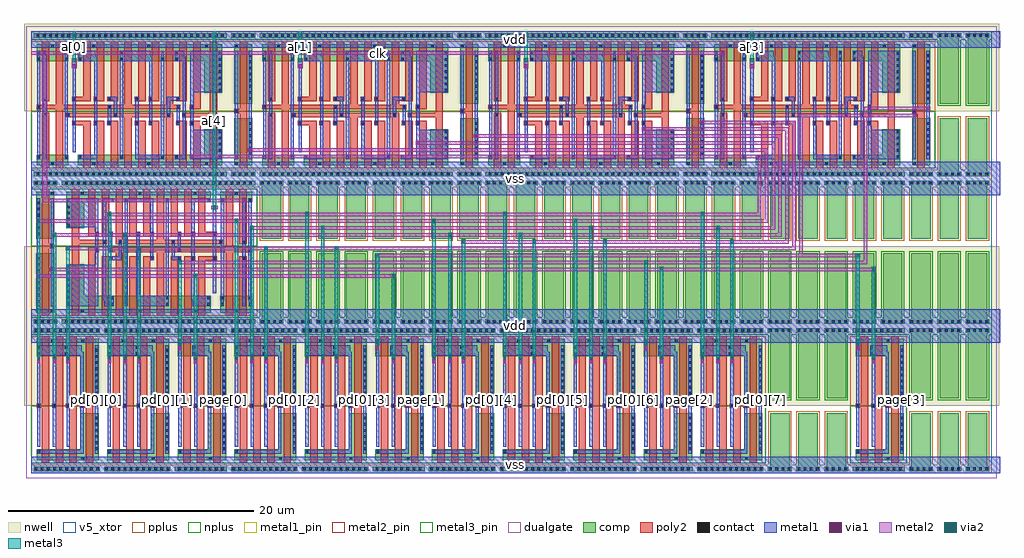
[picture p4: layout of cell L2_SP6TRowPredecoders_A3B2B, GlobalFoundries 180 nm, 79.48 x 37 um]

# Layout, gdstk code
from math import pi, radians
import gdstk
lib = gdstk.Library(unit=1e-6, precision=1e-09)
def R(c, l, rs):  # rectangles x0, y0, x1, y1
    for r in rs: c.add(gdstk.rectangle(r[:2], r[2:], *l))
def A(c, l, x, y, w, h, nx, ny, dx, dy):  # array of equal rectangles
    R(c, l, [(x+i*dx, y+j*dy, x+i*dx+w, y+j*dy+h) for i in range(nx) for j in range(ny)])
def P(c, l, *ps):  # polygons
    for p in ps: c.add(gdstk.Polygon(p, *l))
nwell = (21, 0)
comp = (22, 0)
poly2 = (30, 0)
pplus = (31, 0)
nplus = (32, 0)
contact = (33, 0)
metal1 = (34, 0)
metal1_pin = (34, 10)
via1 = (35, 0)
metal2 = (36, 0)
metal2_pin = (36, 10)
via2 = (38, 0)
metal3 = (42, 0)
metal3_pin = (42, 10)
dualgate = (55, 0)
v5_xtor = (112, 1)

l2_dec5v_and2_x1_5v0 = lib.new_cell('L2_Dec5V_and2_x1_5v0')
R(l2_dec5v_and2_x1_5v0, nwell, [(-0.6,5.5,5.2,12.6)])
R(l2_dec5v_and2_x1_5v0, comp, [(0.18,0.18,4.42,0.54), (0.18,11.46,4.42,11.82)])
P(l2_dec5v_and2_x1_5v0, comp, [(2.88,6.1),(2.88,9.535),(0.42,9.535),(0.42,10.935),(4.36,10.935),(4.36,6.1)],
  [(0.42,1.065),(0.42,1.945),(2.88,1.945),(2.88,4.9),(4.36,4.9),(4.36,1.065)])
P(l2_dec5v_and2_x1_5v0, poly2, [(1.98,0.845),(1.98,5.32),(1.7,5.32),(1.7,5.68),(1.98,5.68),(1.98,11.155),(2.58,11.155),(2.58,0.845)],
  [(0.86,0.845),(0.86,5.32),(0.42,5.32),(0.42,5.68),(0.86,5.68),(0.86,11.155),(1.46,11.155),(1.46,0.845)],
  [(3.32,0.845),(3.32,5.32),(2.82,5.32),(2.82,5.68),(3.32,5.68),(3.32,11.155),(3.92,11.155),(3.92,0.845)])
R(l2_dec5v_and2_x1_5v0, pplus, [(0,0,4.6,0.7), (0,5.5,4.6,11.165)])
R(l2_dec5v_and2_x1_5v0, nplus, [(0,0.835,4.6,5.5), (0,11.3,4.6,12)])
A(l2_dec5v_and2_x1_5v0, contact, 0.44, 0.25, 0.22, 0.22, 8, 2, 0.5, 11.28)
A(l2_dec5v_and2_x1_5v0, contact, 4.07, 1.88, 0.22, 0.22, 1, 6, 0, 0.5)
A(l2_dec5v_and2_x1_5v0, contact, 4.07, 6.4, 0.22, 0.22, 1, 8, 0, 0.5)
R(l2_dec5v_and2_x1_5v0, contact, [(2.95,1.135,3.17,1.355), (0.49,1.65,0.71,1.87), (0.49,5.39,0.71,5.61), (1.77,5.39,1.99,5.61), (2.89,5.39,3.11,5.61), (1.61,9.62,1.83,9.84), (1.61,10.12,1.83,10.34), (0.49,10.645,0.71,10.865), (2.95,10.645,3.17,10.865)])
R(l2_dec5v_and2_x1_5v0, metal1, [(0,0,4.6,1.36), (4.05,1.59,4.31,10.41), (0.47,2.16,0.73,10.41), (1.75,2.16,2.01,9.33), (0,10.64,4.6,12)])
P(l2_dec5v_and2_x1_5v0, metal1, [(0.485,1.59),(0.485,1.93),(2.87,1.93),(2.87,9.56),(1.605,9.56),(1.605,10.41),(3,10.41),(3,9.9),(3.13,9.9),(3.13,1.59)])
R(l2_dec5v_and2_x1_5v0, metal1_pin, [(0,0,4.6,1.36), (4.05,1.59,4.31,10.41), (0.47,2.16,0.73,10.41), (1.75,2.16,2.01,9.33), (0,10.64,4.6,12)])
R(l2_dec5v_and2_x1_5v0, dualgate, [(-0.4,-0.4,5,12.4)])
R(l2_dec5v_and2_x1_5v0, v5_xtor, [(-0.005,-0.005,4.605,12.005)])
l2_dec5v_and2_x1_5v0.add(gdstk.Label('q', (4.18,6), layer=34, texttype=10))
l2_dec5v_and2_x1_5v0.add(gdstk.Label('i1', (1.88,5.745), layer=34, texttype=10))
l2_dec5v_and2_x1_5v0.add(gdstk.Label('i0', (0.6,6.285), layer=34, texttype=10))
l2_dec5v_and2_x1_5v0.add(gdstk.Label('vss', (2.3,0.68), layer=34, texttype=10))
l2_dec5v_and2_x1_5v0.add(gdstk.Label('vdd', (2.3,11.32), layer=34, texttype=10))

l2_dec5v_and3_x1_5v0 = lib.new_cell('L2_Dec5V_and3_x1_5v0')
R(l2_dec5v_and3_x1_5v0, nwell, [(-0.6,5.5,6.35,12.6)])
R(l2_dec5v_and3_x1_5v0, comp, [(0.18,0.18,5.57,0.54), (0.18,11.46,5.57,11.82)])
P(l2_dec5v_and3_x1_5v0, comp, [(0.42,1.065),(0.42,1.945),(4,1.945),(4,4.9),(5.48,4.9),(5.48,1.065)],
  [(4,6.1),(4,9.535),(0.42,9.535),(0.42,10.935),(5.48,10.935),(5.48,6.1)])
P(l2_dec5v_and3_x1_5v0, poly2, [(1.98,0.845),(1.98,5.32),(1.7,5.32),(1.7,5.68),(1.98,5.68),(1.98,11.155),(2.58,11.155),(2.58,0.845)],
  [(3.1,0.845),(3.1,5.32),(2.82,5.32),(2.82,5.68),(3.1,5.68),(3.1,11.155),(3.7,11.155),(3.7,0.845)],
  [(0.86,0.845),(0.86,5.32),(0.42,5.32),(0.42,5.68),(0.86,5.68),(0.86,11.155),(1.46,11.155),(1.46,0.845)],
  [(4.44,0.845),(4.44,5.32),(3.94,5.32),(3.94,5.68),(4.44,5.68),(4.44,11.155),(5.04,11.155),(5.04,0.845)])
R(l2_dec5v_and3_x1_5v0, pplus, [(0,0,5.75,0.7), (0,5.5,5.75,11.165)])
R(l2_dec5v_and3_x1_5v0, nplus, [(0,0.835,5.75,5.5), (0,11.3,5.75,12)])
A(l2_dec5v_and3_x1_5v0, contact, 0.265, 0.25, 0.22, 0.22, 11, 2, 0.5, 11.28)
A(l2_dec5v_and3_x1_5v0, contact, 5.19, 1.88, 0.22, 0.22, 1, 6, 0, 0.5)
A(l2_dec5v_and3_x1_5v0, contact, 1.77, 5.39, 0.22, 0.22, 3, 1, 1.12, 0)
A(l2_dec5v_and3_x1_5v0, contact, 5.19, 6.4, 0.22, 0.22, 1, 8, 0, 0.5)
R(l2_dec5v_and3_x1_5v0, contact, [(4.07,1.135,4.29,1.355), (0.49,1.65,0.71,1.87), (0.49,5.39,0.71,5.61), (0.49,9.62,0.71,9.84), (2.73,9.62,2.95,9.84), (0.49,10.12,0.71,10.34), (2.73,10.12,2.95,10.34), (1.61,10.645,1.83,10.865), (4.07,10.645,4.29,10.865)])
R(l2_dec5v_and3_x1_5v0, metal1, [(0,0,5.75,1.36), (5.17,1.59,5.43,10.41), (0.47,2.16,0.73,9.33), (1.75,2.16,2.01,9.33), (2.87,2.16,3.13,9.33), (0,10.64,5.75,12)])
P(l2_dec5v_and3_x1_5v0, metal1, [(0.485,1.59),(0.485,1.93),(3.99,1.93),(3.99,9.56),(0.485,9.56),(0.485,10.41),(4.12,10.41),(4.12,9.9),(4.25,9.9),(4.25,1.59)])
R(l2_dec5v_and3_x1_5v0, metal1_pin, [(0,0,5.75,1.36), (5.17,1.59,5.43,10.41), (0.47,2.16,0.73,9.33), (1.75,2.16,2.01,9.33), (2.87,2.16,3.13,9.33), (0,10.64,5.75,12)])
R(l2_dec5v_and3_x1_5v0, dualgate, [(-0.4,-0.4,6.15,12.4)])
R(l2_dec5v_and3_x1_5v0, v5_xtor, [(-0.005,-0.005,5.755,12.005)])
l2_dec5v_and3_x1_5v0.add(gdstk.Label('q', (5.3,6), layer=34, texttype=10))
l2_dec5v_and3_x1_5v0.add(gdstk.Label('i2', (3,5.745), layer=34, texttype=10))
l2_dec5v_and3_x1_5v0.add(gdstk.Label('i1', (1.88,5.745), layer=34, texttype=10))
l2_dec5v_and3_x1_5v0.add(gdstk.Label('i0', (0.6,5.745), layer=34, texttype=10))
l2_dec5v_and3_x1_5v0.add(gdstk.Label('vss', (2.875,0.68), layer=34, texttype=10))
l2_dec5v_and3_x1_5v0.add(gdstk.Label('vdd', (2.875,11.32), layer=34, texttype=10))

l2_dec5v_tie_diff_w2_5v0 = lib.new_cell('L2_Dec5V_tie_diff_w2_5v0')
R(l2_dec5v_tie_diff_w2_5v0, nwell, [(-0.6,5.5,2.9,12.6)])
P(l2_dec5v_tie_diff_w2_5v0, comp, [(0.18,0.18),(0.18,0.54),(0.36,0.54),(0.36,4.9),(1.94,4.9),(1.94,0.54),(2.12,0.54),(2.12,0.18)],
  [(0.36,6.1),(0.36,11.46),(0.18,11.46),(0.18,11.82),(2.12,11.82),(2.12,11.46),(1.94,11.46),(1.94,6.1)])
P(l2_dec5v_tie_diff_w2_5v0, pplus, [(0,0),(0,0.7),(0.2,0.7),(0.2,5.06),(2.1,5.06),(2.1,0.7),(2.3,0.7),(2.3,0)])
P(l2_dec5v_tie_diff_w2_5v0, nplus, [(0.2,5.94),(0.2,11.3),(0,11.3),(0,12),(2.3,12),(2.3,11.3),(2.1,11.3),(2.1,5.94)])
A(l2_dec5v_tie_diff_w2_5v0, contact, 0.29, 0.25, 0.22, 0.22, 4, 2, 0.5, 11.28)
R(l2_dec5v_tie_diff_w2_5v0, metal1, [(0,0,2.3,1.36), (0,10.64,2.3,12)])
R(l2_dec5v_tie_diff_w2_5v0, metal1_pin, [(0,0,2.3,1.36), (0,10.64,2.3,12)])
R(l2_dec5v_tie_diff_w2_5v0, dualgate, [(-0.4,-0.4,2.7,12.4)])
R(l2_dec5v_tie_diff_w2_5v0, v5_xtor, [(-0.005,-0.005,2.305,12.005)])
l2_dec5v_tie_diff_w2_5v0.add(gdstk.Label('vss', (1.15,0.68), layer=34, texttype=10))
l2_dec5v_tie_diff_w2_5v0.add(gdstk.Label('vdd', (1.15,11.32), layer=34, texttype=10))

l2_dec5v_dff_x1_5v0 = lib.new_cell('L2_Dec5V_dff_x1_5v0')
R(l2_dec5v_dff_x1_5v0, nwell, [(-0.6,5.5,16.7,12.6)])
R(l2_dec5v_dff_x1_5v0, comp, [(0.18,0.18,15.92,0.54), (0.42,1.065,3.02,1.945), (0.42,9.535,3.02,10.935), (0.18,11.46,15.92,11.82)])
P(l2_dec5v_dff_x1_5v0, comp, [(3.78,1.065),(3.78,1.945),(14.08,1.945),(14.08,4.03),(15.56,4.03),(15.56,1.065)],
  [(14.08,6.97),(14.08,9.535),(3.78,9.535),(3.78,10.935),(15.56,10.935),(15.56,6.97)])
R(l2_dec5v_dff_x1_5v0, poly2, [(0.86,0.845,1.46,5.35), (0.86,6.31,1.46,11.155)])
P(l2_dec5v_dff_x1_5v0, poly2, [(12.9,5.65),(12.9,6.01),(13.18,6.01),(13.18,11.155),(13.78,11.155),(13.78,5.65)],
  [(14.52,0.845),(14.52,4.99),(12.27,4.99),(12.27,5.35),(14.52,5.35),(14.52,11.155),(15.12,11.155),(15.12,0.845)],
  [(4.22,0.845),(4.22,4.33),(3.31,4.33),(3.31,4.69),(4.82,4.69),(4.82,0.845)],
  [(7.58,0.845),(7.58,4.99),(2.82,4.99),(2.82,5.35),(11.54,5.35),(11.54,0.845),(10.94,0.845),(10.94,4.99),(8.18,4.99),(8.18,0.845)],
  [(5.06,6.31),(5.06,6.67),(5.34,6.67),(5.34,11.155),(5.94,11.155),(5.94,6.31)],
  [(6.18,6.31),(6.18,6.67),(6.46,6.67),(6.46,11.155),(7.06,11.155),(7.06,6.31)],
  [(8.42,6.31),(8.42,6.67),(8.7,6.67),(8.7,11.155),(9.3,11.155),(9.3,6.31)],
  [(9.54,6.31),(9.54,6.67),(9.82,6.67),(9.82,11.155),(10.42,11.155),(10.42,6.31)],
  [(11.78,6.31),(11.78,6.67),(12.06,6.67),(12.06,11.155),(12.66,11.155),(12.66,6.31)],
  [(5.34,0.845),(5.34,4.33),(5.06,4.33),(5.06,4.69),(5.94,4.69),(5.94,0.845)],
  [(6.46,0.845),(6.46,4.33),(6.18,4.33),(6.18,4.69),(7.06,4.69),(7.06,0.845)],
  [(8.7,0.845),(8.7,4.33),(8.42,4.33),(8.42,4.69),(9.3,4.69),(9.3,0.845)],
  [(9.82,0.845),(9.82,4.33),(9.54,4.33),(9.54,4.69),(10.42,4.69),(10.42,0.845)],
  [(12.06,0.845),(12.06,4.33),(11.78,4.33),(11.78,4.69),(12.66,4.69),(12.66,0.845)],
  [(13.18,0.845),(13.18,4.33),(12.9,4.33),(12.9,4.69),(13.78,4.69),(13.78,0.845)],
  [(3.31,6.31),(3.31,6.67),(4.22,6.67),(4.22,11.155),(4.82,11.155),(4.82,6.31)],
  [(1.98,0.845),(1.98,5.65),(0.42,5.65),(0.42,6.01),(1.98,6.01),(1.98,11.155),(2.58,11.155),(2.58,6.01),(7.58,6.01),(7.58,11.155),(8.18,11.155),(8.18,6.01),(10.94,6.01),(10.94,11.155),(11.54,11.155),(11.54,6.01),(12.14,6.01),(12.14,5.65),(2.58,5.65),(2.58,0.845)])
R(l2_dec5v_dff_x1_5v0, pplus, [(0,0,16.1,0.7), (0,5.5,16.1,11.165)])
R(l2_dec5v_dff_x1_5v0, nplus, [(0,0.835,16.1,5.5), (0,11.3,16.1,12)])
A(l2_dec5v_dff_x1_5v0, contact, 0.44, 0.25, 0.22, 0.22, 31, 2, 0.5, 11.28)
A(l2_dec5v_dff_x1_5v0, contact, 3.85, 1.65, 0.22, 0.22, 3, 2, 3.36, 7.97)
A(l2_dec5v_dff_x1_5v0, contact, 15.27, 1.695, 0.22, 0.22, 1, 5, 0, 0.5)
A(l2_dec5v_dff_x1_5v0, contact, 15.27, 7.085, 0.22, 0.22, 1, 7, 0, 0.5)
A(l2_dec5v_dff_x1_5v0, contact, 3.85, 10.12, 0.22, 0.22, 3, 1, 3.36, 0)
R(l2_dec5v_dff_x1_5v0, contact, [(1.61,1.135,1.83,1.355), (4.97,1.135,5.19,1.355), (9.45,1.135,9.67,1.355), (14.15,1.135,14.37,1.355), (0.49,1.65,0.71,1.87), (2.73,1.65,2.95,1.87), (11.69,1.65,11.91,1.87), (3.38,4.4,3.6,4.62), (5.13,4.4,5.35,4.62), (6.25,4.4,6.47,4.62), (8.49,4.4,8.71,4.62), (9.61,4.4,9.83,4.62), (11.85,4.4,12.07,4.62), (12.97,4.4,13.19,4.62), (0.98,5.06,1.2,5.28), (2.89,5.06,3.11,5.28), (6.74,5.06,6.96,5.28), (11.06,5.06,11.28,5.28), (12.34,5.06,12.56,5.28), (0.49,5.72,0.71,5.94), (6.25,5.72,6.47,5.94), (11.85,5.72,12.07,5.94), (12.97,5.72,13.19,5.94), (0.98,6.38,1.2,6.6), (3.38,6.38,3.6,6.6), (5.13,6.38,5.35,6.6), (6.25,6.38,6.47,6.6), (8.49,6.38,8.71,6.6), (9.61,6.38,9.83,6.6), (11.85,6.38,12.07,6.6), (0.49,9.62,0.71,9.84), (2.73,9.62,2.95,9.84), (11.69,9.62,11.91,9.84), (0.49,10.12,0.71,10.34), (2.73,10.12,2.95,10.34), (11.69,10.12,11.91,10.34), (1.61,10.645,1.83,10.865), (4.97,10.645,5.19,10.865), (9.45,10.645,9.67,10.865), (14.15,10.645,14.37,10.865)])
R(l2_dec5v_dff_x1_5v0, metal1, [(0,0,16.1,1.36), (0.96,1.59,1.22,10.41), (3.36,2.16,3.62,9.33), (6.23,4.34,6.49,6), (11.83,4.34,12.09,6), (0,10.64,16.1,12)])
P(l2_dec5v_dff_x1_5v0, metal1, [(11.685,1.59),(11.685,1.93),(12.32,1.93),(12.32,9.56),(11.685,9.56),(11.685,10.41),(12.45,10.41),(12.45,9.9),(12.58,9.9),(12.58,1.59)],
  [(8.47,1.59),(8.47,6.66),(8.73,6.66),(8.73,1.93),(10.55,1.93),(10.55,9.9),(10.565,9.9),(10.565,10.41),(10.795,10.41),(10.795,9.9),(10.81,9.9),(10.81,1.59)],
  [(3.845,1.59),(3.845,1.93),(5.11,1.93),(5.11,9.56),(3.845,9.56),(3.845,10.41),(5.24,10.41),(5.24,9.9),(5.37,9.9),(5.37,1.59)],
  [(2.71,1.59),(2.71,9.9),(2.725,9.9),(2.725,10.41),(2.955,10.41),(2.955,9.9),(2.97,9.9),(2.97,5.34),(3.115,5.34),(3.115,5),(2.97,5),(2.97,1.59)],
  [(12.95,1.59),(12.95,10.41),(15.495,10.41),(15.495,7.025),(13.21,7.025),(13.21,3.975),(15.495,3.975),(15.495,1.59)],
  [(11.04,5),(11.04,6.66),(12.075,6.66),(12.075,6.32),(11.3,6.32),(11.3,5)],
  [(6.72,5),(6.72,6.32),(6.245,6.32),(6.245,6.66),(6.98,6.66),(6.98,5)],
  [(7.205,1.59),(7.205,1.93),(7.21,1.93),(7.21,9.56),(7.205,9.56),(7.205,10.41),(9.72,10.41),(9.72,9.9),(9.85,9.9),(9.85,4.34),(9.59,4.34),(9.59,9.56),(7.47,9.56),(7.47,1.59)],
  [(0.47,1.59),(0.47,9.9),(0.485,9.9),(0.485,10.41),(0.715,10.41),(0.715,9.9),(0.73,9.9),(0.73,1.59)])
R(l2_dec5v_dff_x1_5v0, metal1_pin, [(0,0,16.1,1.36), (0.96,1.59,1.22,10.41), (12.95,1.59,13.21,10.41), (3.36,2.16,3.62,9.33), (0,10.64,16.1,12)])
R(l2_dec5v_dff_x1_5v0, dualgate, [(-0.4,-0.4,16.5,12.4)])
R(l2_dec5v_dff_x1_5v0, v5_xtor, [(-0.005,-0.005,16.105,12.005)])
l2_dec5v_dff_x1_5v0.add(gdstk.Label('q', (13.08,6), layer=34, texttype=10))
l2_dec5v_dff_x1_5v0.add(gdstk.Label('i', (3.49,5.745), layer=34, texttype=10))
l2_dec5v_dff_x1_5v0.add(gdstk.Label('clk', (1.09,6), layer=34, texttype=10))
l2_dec5v_dff_x1_5v0.add(gdstk.Label('vss', (8.05,0.68), layer=34, texttype=10))
l2_dec5v_dff_x1_5v0.add(gdstk.Label('vdd', (8.05,11.32), layer=34, texttype=10))

l2_dec5v_inv_x1_5v0 = lib.new_cell('L2_Dec5V_inv_x1_5v0')
R(l2_dec5v_inv_x1_5v0, nwell, [(-0.6,5.5,2.9,12.6)])
R(l2_dec5v_inv_x1_5v0, comp, [(0.18,0.18,2.12,0.54), (0.42,1.065,1.9,4.9), (0.42,6.1,1.9,10.935), (0.18,11.46,2.12,11.82)])
P(l2_dec5v_inv_x1_5v0, poly2, [(0.86,0.845),(0.86,5.32),(0.42,5.32),(0.42,5.68),(0.86,5.68),(0.86,11.155),(1.46,11.155),(1.46,0.845)])
R(l2_dec5v_inv_x1_5v0, pplus, [(0,0,2.3,0.7), (0,5.5,2.3,11.165)])
R(l2_dec5v_inv_x1_5v0, nplus, [(0,0.835,2.3,5.5), (0,11.3,2.3,12)])
A(l2_dec5v_inv_x1_5v0, contact, 0.29, 0.25, 0.22, 0.22, 4, 2, 0.5, 11.28)
A(l2_dec5v_inv_x1_5v0, contact, 1.61, 1.88, 0.22, 0.22, 1, 6, 0, 0.5)
A(l2_dec5v_inv_x1_5v0, contact, 1.61, 6.4, 0.22, 0.22, 1, 8, 0, 0.5)
R(l2_dec5v_inv_x1_5v0, contact, [(0.49,1.135,0.71,1.355), (0.49,5.39,0.71,5.61), (0.49,10.645,0.71,10.865)])
R(l2_dec5v_inv_x1_5v0, metal1, [(0,0,2.3,1.36), (0.47,1.59,0.73,10.41), (1.59,1.59,1.85,10.41), (0,10.64,2.3,12)])
R(l2_dec5v_inv_x1_5v0, metal1_pin, [(0,0,2.3,1.36), (0.47,1.59,0.73,10.41), (1.59,1.59,1.85,10.41), (0,10.64,2.3,12)])
R(l2_dec5v_inv_x1_5v0, dualgate, [(-0.4,-0.4,2.7,12.4)])
R(l2_dec5v_inv_x1_5v0, v5_xtor, [(-0.005,-0.005,2.305,12.005)])
l2_dec5v_inv_x1_5v0.add(gdstk.Label('i', (0.6,6), layer=34, texttype=10))
l2_dec5v_inv_x1_5v0.add(gdstk.Label('nq', (1.72,6), layer=34, texttype=10))
l2_dec5v_inv_x1_5v0.add(gdstk.Label('vdd', (1.15,11.32), layer=34, texttype=10))
l2_dec5v_inv_x1_5v0.add(gdstk.Label('vss', (1.15,0.68), layer=34, texttype=10))

l2_sp6trowpredecoders_a3 = lib.new_cell('L2_SP6TRowPredecoders_A3B2B')
A(l2_sp6trowpredecoders_a3, metal1, 37.37, 1.59, 0.26, 8.82, 3, 1, 5.75, 0)
A(l2_sp6trowpredecoders_a3, metal1, 3.36, 32.95, 0.26, 0.38, 4, 1, 18.4, 0)
A(l2_sp6trowpredecoders_a3, metal1, 0.96, 34.03, 0.26, 0.38, 4, 1, 18.4, 0)
R(l2_sp6trowpredecoders_a3, metal1, [(0,0,78.88,1.36), (5.17,1.59,5.43,10.41), (10.92,1.59,11.18,10.41), (15.55,1.59,15.81,10.41), (21.27,1.59,21.53,10.41), (27.02,1.59,27.28,10.41), (31.65,1.59,31.91,10.41), (53.5,1.59,53.76,10.41), (59.22,1.59,59.48,10.41), (70.75,1.59,71.01,10.41), (0.47,8.95,0.73,9.33), (1.75,8.95,2.01,9.33), (2.87,8.95,3.13,9.33), (6.22,8.95,6.48,9.33), (7.5,8.95,7.76,9.33), (8.62,8.95,8.88,9.33), (13.25,8.95,13.51,9.33), (16.57,8.95,16.83,9.33), (17.85,8.95,18.11,9.33), (18.97,8.95,19.23,9.33), (22.32,8.95,22.58,9.33), (23.6,8.95,23.86,9.33), (24.72,8.95,24.98,9.33), (29.35,8.95,29.61,9.33), (32.67,8.95,32.93,9.33), (33.95,8.95,34.21,9.33), (35.07,8.95,35.33,9.33), (38.42,8.95,38.68,9.33), (39.7,8.95,39.96,9.33), (40.82,8.95,41.08,9.33), (44.17,8.95,44.43,9.33), (45.45,8.95,45.71,9.33), (46.57,8.95,46.83,9.33), (51.2,8.95,51.46,9.33), (54.52,8.95,54.78,9.33), (55.8,8.95,56.06,9.33), (56.92,8.95,57.18,9.33), (68.45,8.95,68.71,9.33), (11.97,10.03,12.23,10.41), (28.07,10.03,28.33,10.41), (49.92,10.03,50.18,10.41), (67.17,10.03,67.43,10.41), (0,10.64,78.88,13.36), (0.45,15.86,0.71,16.24), (1.57,16.42,1.83,16.8), (5.19,16.42,5.45,16.8), (14.78,21.46,15.04,21.84), (17.18,22.03,17.44,22.41), (0,22.64,78.88,25.36), (12.95,25.59,13.21,25.97), (16.57,25.59,16.83,25.97), (17.69,26.15,17.95,26.53), (31.35,26.71,31.61,27.09), (34.97,26.71,35.23,27.09), (36.09,27.27,36.35,27.65), (49.75,27.83,50.01,28.21), (53.37,27.83,53.63,28.21), (54.49,28.39,54.75,28.77), (68.15,28.95,68.41,29.33), (71.77,28.95,72.03,29.33), (72.89,29.51,73.15,29.89), (0,34.64,78.88,36)])
A(l2_sp6trowpredecoders_a3, metal1_pin, 37.37, 1.59, 0.26, 8.82, 3, 1, 5.75, 0)
R(l2_sp6trowpredecoders_a3, metal1_pin, [(0,0,78.88,1.36), (5.17,1.59,5.43,10.41), (10.92,1.59,11.18,10.41), (15.55,1.59,15.81,10.41), (21.27,1.59,21.53,10.41), (27.02,1.59,27.28,10.41), (31.65,1.59,31.91,10.41), (53.5,1.59,53.76,10.41), (59.22,1.59,59.48,10.41), (70.75,1.59,71.01,10.41), (0,10.64,78.88,13.36), (0,22.64,78.88,25.36), (0,34.64,78.88,36)])
A(l2_sp6trowpredecoders_a3, via1, 3.36, 33.01, 0.26, 0.26, 4, 1, 18.4, 0)
A(l2_sp6trowpredecoders_a3, via1, 0.96, 34.09, 0.26, 0.26, 4, 1, 18.4, 0)
R(l2_sp6trowpredecoders_a3, via1, [(0.47,9.01,0.73,9.27), (1.75,9.01,2.01,9.27), (2.87,9.01,3.13,9.27), (6.22,9.01,6.48,9.27), (7.5,9.01,7.76,9.27), (8.62,9.01,8.88,9.27), (13.25,9.01,13.51,9.27), (16.57,9.01,16.83,9.27), (17.85,9.01,18.11,9.27), (18.97,9.01,19.23,9.27), (22.32,9.01,22.58,9.27), (23.6,9.01,23.86,9.27), (24.72,9.01,24.98,9.27), (29.35,9.01,29.61,9.27), (32.67,9.01,32.93,9.27), (33.95,9.01,34.21,9.27), (35.07,9.01,35.33,9.27), (38.42,9.01,38.68,9.27), (39.7,9.01,39.96,9.27), (40.82,9.01,41.08,9.27), (44.17,9.01,44.43,9.27), (45.45,9.01,45.71,9.27), (46.57,9.01,46.83,9.27), (51.2,9.01,51.46,9.27), (54.52,9.01,54.78,9.27), (55.8,9.01,56.06,9.27), (56.92,9.01,57.18,9.27), (68.45,9.01,68.71,9.27), (11.97,10.09,12.23,10.35), (28.07,10.09,28.33,10.35), (49.92,10.09,50.18,10.35), (67.17,10.09,67.43,10.35), (0.45,15.92,0.71,16.18), (1.57,16.48,1.83,16.74), (5.19,16.48,5.45,16.74), (14.78,21.52,15.04,21.78), (17.18,22.09,17.44,22.35), (12.95,25.65,13.21,25.91), (16.57,25.65,16.83,25.91), (17.69,26.21,17.95,26.47), (31.35,26.77,31.61,27.03), (34.97,26.77,35.23,27.03), (36.09,27.33,36.35,27.59), (49.75,27.89,50.01,28.15), (53.37,27.89,53.63,28.15), (54.49,28.45,54.75,28.71), (68.15,29.01,68.41,29.27), (71.77,29.01,72.03,29.27), (72.89,29.57,73.15,29.83)])
A(l2_sp6trowpredecoders_a3, metal2, 3.3, 33, 0.38, 0.8, 4, 1, 18.4, 0)
R(l2_sp6trowpredecoders_a3, metal2, [(0.46,8.95,0.74,9.71), (1.74,8.95,2.02,9.71), (2.86,8.95,3.14,9.71), (6.21,8.95,6.49,9.71), (7.49,8.95,7.77,9.71), (8.61,8.95,8.89,9.71), (13.24,8.95,13.52,9.71), (16.56,8.95,16.84,9.71), (17.84,8.95,18.12,9.71), (18.96,8.95,19.24,9.71), (22.31,8.95,22.59,9.71), (23.59,8.95,23.87,9.71), (24.71,8.95,24.99,9.71), (29.34,8.95,29.62,9.71), (32.66,8.95,32.94,9.71), (33.94,8.95,34.22,9.71), (35.06,8.95,35.34,9.71), (38.41,8.95,38.69,9.71), (39.69,8.95,39.97,9.71), (40.81,8.95,41.09,9.71), (44.16,8.95,44.44,9.71), (45.44,8.95,45.72,9.71), (46.56,8.95,46.84,9.71), (51.19,8.95,51.47,9.71), (54.51,8.95,54.79,9.71), (55.79,8.95,56.07,9.71), (56.91,8.95,57.19,9.71), (68.44,8.95,68.72,9.71), (11.96,10.03,12.24,10.79), (28.06,10.03,28.34,10.79), (49.91,10.03,50.19,10.79), (67.16,10.03,67.44,10.79), (0.39,15.91,29.67,16.19), (1.51,16.47,68.77,16.75), (14.66,21.51,15.16,21.8)])
P(l2_sp6trowpredecoders_a3, metal2, [(11.91,17.03),(11.91,17.31),(67.77,17.31),(67.77,29.84),(73.21,29.84),(73.21,29.56),(68.05,29.56),(68.05,17.03)],
  [(28.01,17.59),(28.01,17.87),(62.52,17.87),(62.52,29.28),(72.09,29.28),(72.09,29),(62.8,29),(62.8,17.87),(67.49,17.87),(67.49,17.59)],
  [(35.01,18.71),(35.01,18.99),(61.4,18.99),(61.4,27.88),(49.69,27.88),(49.69,28.16),(61.68,28.16),(61.68,18.71)],
  [(2.81,18.15),(2.81,18.43),(61.96,18.43),(61.96,28.44),(54.43,28.44),(54.43,28.72),(62.24,28.72),(62.24,18.15)],
  [(1.69,19.27),(1.69,19.55),(60.84,19.55),(60.84,27.32),(36.03,27.32),(36.03,27.6),(61.12,27.6),(61.12,19.27)],
  [(17.79,19.83),(17.79,20.11),(60.28,20.11),(60.28,26.76),(31.29,26.76),(31.29,27.04),(60.56,27.04),(60.56,19.83)],
  [(6.16,20.95),(6.16,21.23),(59.16,21.23),(59.16,25.64),(12.89,25.64),(12.89,25.92),(59.44,25.92),(59.44,20.95)],
  [(0.41,20.39),(0.41,20.67),(59.72,20.67),(59.72,26.2),(17.63,26.2),(17.63,26.48),(60,26.48),(60,20.39)],
  [(0.9,22.08),(0.9,34.08),(0,34.08),(0,34.36),(56.48,34.36),(56.48,34.08),(1.28,34.08),(1.28,22.36),(17.5,22.36),(17.5,22.08)])
R(l2_sp6trowpredecoders_a3, metal2_pin, [(0,34.08,56.48,34.36)])
A(l2_sp6trowpredecoders_a3, via2, 35.07, 18.72, 0.26, 0.26, 3, 1, 5.75, 0)
A(l2_sp6trowpredecoders_a3, via2, 0.47, 20.4, 0.26, 0.26, 3, 1, 16.1, 0)
A(l2_sp6trowpredecoders_a3, via2, 6.22, 20.96, 0.26, 0.26, 4, 1, 16.1, 0)
A(l2_sp6trowpredecoders_a3, via2, 3.36, 33.53, 0.26, 0.26, 4, 1, 18.4, 0)
R(l2_sp6trowpredecoders_a3, via2, [(0.47,9.39,0.73,9.65), (1.75,9.39,2.01,9.65), (2.87,9.39,3.13,9.65), (6.22,9.39,6.48,9.65), (7.5,9.39,7.76,9.65), (8.62,9.39,8.88,9.65), (13.25,9.39,13.51,9.65), (16.57,9.39,16.83,9.65), (17.85,9.39,18.11,9.65), (18.97,9.39,19.23,9.65), (22.32,9.39,22.58,9.65), (23.6,9.39,23.86,9.65), (24.72,9.39,24.98,9.65), (29.35,9.39,29.61,9.65), (32.67,9.39,32.93,9.65), (33.95,9.39,34.21,9.65), (35.07,9.39,35.33,9.65), (38.42,9.39,38.68,9.65), (39.7,9.39,39.96,9.65), (40.82,9.39,41.08,9.65), (44.17,9.39,44.43,9.65), (45.45,9.39,45.71,9.65), (46.57,9.39,46.83,9.65), (51.2,9.39,51.46,9.65), (54.52,9.39,54.78,9.65), (55.8,9.39,56.06,9.65), (56.92,9.39,57.18,9.65), (68.45,9.39,68.71,9.65), (11.97,10.47,12.23,10.73), (28.07,10.47,28.33,10.73), (49.92,10.47,50.18,10.73), (67.17,10.47,67.43,10.73), (13.25,15.92,13.51,16.18), (29.35,15.92,29.61,16.18), (51.2,16.48,51.46,16.74), (68.45,16.48,68.71,16.74), (11.97,17.04,12.23,17.3), (49.92,17.04,50.18,17.3), (28.07,17.6,28.33,17.86), (67.17,17.6,67.43,17.86), (2.87,18.16,3.13,18.42), (8.62,18.16,8.88,18.42), (18.97,18.16,19.23,18.42), (24.72,18.16,24.98,18.42), (56.92,18.72,57.18,18.98), (1.75,19.28,2.01,19.54), (7.5,19.28,7.76,19.54), (33.95,19.28,34.21,19.54), (39.7,19.28,39.96,19.54), (17.85,19.84,18.11,20.1), (23.6,19.84,23.86,20.1), (45.45,19.84,45.71,20.1), (55.8,19.84,56.06,20.1), (44.17,20.4,44.43,20.66), (14.78,21.53,15.04,21.79)])
A(l2_sp6trowpredecoders_a3, metal3, 0.46, 9.33, 0.28, 11.39, 3, 1, 16.1, 0)
A(l2_sp6trowpredecoders_a3, metal3, 6.21, 9.33, 0.28, 11.95, 4, 1, 16.1, 0)
A(l2_sp6trowpredecoders_a3, metal3, 35.06, 9.33, 0.28, 9.71, 3, 1, 5.75, 0)
A(l2_sp6trowpredecoders_a3, metal3, 3.35, 33.47, 0.28, 2.53, 4, 1, 18.4, 0)
R(l2_sp6trowpredecoders_a3, metal3, [(1.74,9.33,2.02,19.6), (2.86,9.33,3.14,18.48), (7.49,9.33,7.77,19.6), (8.61,9.33,8.89,18.48), (13.24,9.33,13.52,16.24), (17.84,9.33,18.12,20.16), (18.96,9.33,19.24,18.48), (23.59,9.33,23.87,20.16), (24.71,9.33,24.99,18.48), (29.34,9.33,29.62,16.24), (33.94,9.33,34.22,19.6), (39.69,9.33,39.97,19.6), (44.16,9.33,44.44,20.72), (45.44,9.33,45.72,20.16), (51.19,9.33,51.47,16.8), (55.79,9.33,56.07,20.16), (56.91,9.33,57.19,19.04), (68.44,9.33,68.72,16.8), (11.96,10.41,12.24,17.36), (28.06,10.41,28.34,17.92), (49.91,10.41,50.19,17.36), (67.16,10.41,67.44,17.92), (14.77,21.47,15.05,36)])
A(l2_sp6trowpredecoders_a3, metal3_pin, 3.35, 33.47, 0.28, 2.53, 4, 1, 18.4, 0)
R(l2_sp6trowpredecoders_a3, metal3_pin, [(14.77,21.47,15.05,36)])
l2_sp6trowpredecoders_a3.add(gdstk.Reference(l2_dec5v_and2_x1_5v0, (11.5,0)))
l2_sp6trowpredecoders_a3.add(gdstk.Reference(l2_dec5v_and2_x1_5v0, (27.6,0)))
l2_sp6trowpredecoders_a3.add(gdstk.Reference(l2_dec5v_and2_x1_5v0, (49.45,0)))
l2_sp6trowpredecoders_a3.add(gdstk.Reference(l2_dec5v_and2_x1_5v0, (66.7,0)))
l2_sp6trowpredecoders_a3.add(gdstk.Reference(l2_dec5v_and3_x1_5v0, (0,0)))
l2_sp6trowpredecoders_a3.add(gdstk.Reference(l2_dec5v_and3_x1_5v0, (5.75,0)))
l2_sp6trowpredecoders_a3.add(gdstk.Reference(l2_dec5v_and3_x1_5v0, (16.1,0)))
l2_sp6trowpredecoders_a3.add(gdstk.Reference(l2_dec5v_and3_x1_5v0, (21.85,0)))
l2_sp6trowpredecoders_a3.add(gdstk.Reference(l2_dec5v_and3_x1_5v0, (32.2,0)))
l2_sp6trowpredecoders_a3.add(gdstk.Reference(l2_dec5v_and3_x1_5v0, (37.95,0)))
l2_sp6trowpredecoders_a3.add(gdstk.Reference(l2_dec5v_and3_x1_5v0, (43.7,0)))
l2_sp6trowpredecoders_a3.add(gdstk.Reference(l2_dec5v_and3_x1_5v0, (54.05,0)))
l2_sp6trowpredecoders_a3.add(gdstk.Reference(l2_dec5v_tie_diff_w2_5v0, (59.8,0)))
l2_sp6trowpredecoders_a3.add(gdstk.Reference(l2_dec5v_tie_diff_w2_5v0, (62.1,0)))
l2_sp6trowpredecoders_a3.add(gdstk.Reference(l2_dec5v_tie_diff_w2_5v0, (64.4,0)))
l2_sp6trowpredecoders_a3.add(gdstk.Reference(l2_dec5v_tie_diff_w2_5v0, (71.3,0)))
l2_sp6trowpredecoders_a3.add(gdstk.Reference(l2_dec5v_tie_diff_w2_5v0, (73.6,0)))
l2_sp6trowpredecoders_a3.add(gdstk.Reference(l2_dec5v_tie_diff_w2_5v0, (75.9,0)))
l2_sp6trowpredecoders_a3.add(gdstk.Reference(l2_dec5v_tie_diff_w2_5v0, (73.6,24)))
l2_sp6trowpredecoders_a3.add(gdstk.Reference(l2_dec5v_tie_diff_w2_5v0, (75.9,24)))
l2_sp6trowpredecoders_a3.add(gdstk.Reference(l2_dec5v_tie_diff_w2_5v0, (18.4,24), x_reflection=True))
l2_sp6trowpredecoders_a3.add(gdstk.Reference(l2_dec5v_tie_diff_w2_5v0, (20.7,24), x_reflection=True))
l2_sp6trowpredecoders_a3.add(gdstk.Reference(l2_dec5v_tie_diff_w2_5v0, (23,24), x_reflection=True))
l2_sp6trowpredecoders_a3.add(gdstk.Reference(l2_dec5v_tie_diff_w2_5v0, (25.3,24), x_reflection=True))
l2_sp6trowpredecoders_a3.add(gdstk.Reference(l2_dec5v_tie_diff_w2_5v0, (27.6,24), x_reflection=True))
l2_sp6trowpredecoders_a3.add(gdstk.Reference(l2_dec5v_tie_diff_w2_5v0, (29.9,24), x_reflection=True))
l2_sp6trowpredecoders_a3.add(gdstk.Reference(l2_dec5v_tie_diff_w2_5v0, (32.2,24), x_reflection=True))
l2_sp6trowpredecoders_a3.add(gdstk.Reference(l2_dec5v_tie_diff_w2_5v0, (34.5,24), x_reflection=True))
l2_sp6trowpredecoders_a3.add(gdstk.Reference(l2_dec5v_tie_diff_w2_5v0, (36.8,24), x_reflection=True))
l2_sp6trowpredecoders_a3.add(gdstk.Reference(l2_dec5v_tie_diff_w2_5v0, (39.1,24), x_reflection=True))
l2_sp6trowpredecoders_a3.add(gdstk.Reference(l2_dec5v_tie_diff_w2_5v0, (41.4,24), x_reflection=True))
l2_sp6trowpredecoders_a3.add(gdstk.Reference(l2_dec5v_tie_diff_w2_5v0, (43.7,24), x_reflection=True))
l2_sp6trowpredecoders_a3.add(gdstk.Reference(l2_dec5v_tie_diff_w2_5v0, (46,24), x_reflection=True))
l2_sp6trowpredecoders_a3.add(gdstk.Reference(l2_dec5v_tie_diff_w2_5v0, (48.3,24), x_reflection=True))
l2_sp6trowpredecoders_a3.add(gdstk.Reference(l2_dec5v_tie_diff_w2_5v0, (50.6,24), x_reflection=True))
l2_sp6trowpredecoders_a3.add(gdstk.Reference(l2_dec5v_tie_diff_w2_5v0, (52.9,24), x_reflection=True))
l2_sp6trowpredecoders_a3.add(gdstk.Reference(l2_dec5v_tie_diff_w2_5v0, (55.2,24), x_reflection=True))
l2_sp6trowpredecoders_a3.add(gdstk.Reference(l2_dec5v_tie_diff_w2_5v0, (57.5,24), x_reflection=True))
l2_sp6trowpredecoders_a3.add(gdstk.Reference(l2_dec5v_tie_diff_w2_5v0, (59.8,24), x_reflection=True))
l2_sp6trowpredecoders_a3.add(gdstk.Reference(l2_dec5v_tie_diff_w2_5v0, (62.1,24), x_reflection=True))
l2_sp6trowpredecoders_a3.add(gdstk.Reference(l2_dec5v_tie_diff_w2_5v0, (64.4,24), x_reflection=True))
l2_sp6trowpredecoders_a3.add(gdstk.Reference(l2_dec5v_tie_diff_w2_5v0, (66.7,24), x_reflection=True))
l2_sp6trowpredecoders_a3.add(gdstk.Reference(l2_dec5v_tie_diff_w2_5v0, (69,24), x_reflection=True))
l2_sp6trowpredecoders_a3.add(gdstk.Reference(l2_dec5v_tie_diff_w2_5v0, (71.3,24), x_reflection=True))
l2_sp6trowpredecoders_a3.add(gdstk.Reference(l2_dec5v_tie_diff_w2_5v0, (73.6,24), x_reflection=True))
l2_sp6trowpredecoders_a3.add(gdstk.Reference(l2_dec5v_tie_diff_w2_5v0, (75.9,24), x_reflection=True))
l2_sp6trowpredecoders_a3.add(gdstk.Reference(l2_dec5v_dff_x1_5v0, (18.4,24), rotation=pi))
l2_sp6trowpredecoders_a3.add(gdstk.Reference(l2_dec5v_inv_x1_5v0, (2.3,24), rotation=pi))
l2_sp6trowpredecoders_a3.add(gdstk.Reference(l2_dec5v_inv_x1_5v0, (16.1,24)))
l2_sp6trowpredecoders_a3.add(gdstk.Reference(l2_dec5v_inv_x1_5v0, (34.5,24)))
l2_sp6trowpredecoders_a3.add(gdstk.Reference(l2_dec5v_inv_x1_5v0, (52.9,24)))
l2_sp6trowpredecoders_a3.add(gdstk.Reference(l2_dec5v_inv_x1_5v0, (71.3,24)))
l2_sp6trowpredecoders_a3.add(gdstk.Reference(l2_dec5v_dff_x1_5v0, (0,24)))
l2_sp6trowpredecoders_a3.add(gdstk.Reference(l2_dec5v_dff_x1_5v0, (18.4,24)))
l2_sp6trowpredecoders_a3.add(gdstk.Reference(l2_dec5v_dff_x1_5v0, (36.8,24)))
l2_sp6trowpredecoders_a3.add(gdstk.Reference(l2_dec5v_dff_x1_5v0, (55.2,24)))
l2_sp6trowpredecoders_a3.add(gdstk.Label('page[3]', (70.88,6), layer=34, texttype=10))
l2_sp6trowpredecoders_a3.add(gdstk.Label('vss', (39.44,0.68), layer=34, texttype=10))
l2_sp6trowpredecoders_a3.add(gdstk.Label('vss', (39.44,24), layer=34, texttype=10))
l2_sp6trowpredecoders_a3.add(gdstk.Label('page[2]', (53.63,6), layer=34, texttype=10))
l2_sp6trowpredecoders_a3.add(gdstk.Label('pd[0][0]', (5.3,6), layer=34, texttype=10))
l2_sp6trowpredecoders_a3.add(gdstk.Label('vdd', (39.44,12), layer=34, texttype=10))
l2_sp6trowpredecoders_a3.add(gdstk.Label('vdd', (39.44,35.32), layer=34, texttype=10))
l2_sp6trowpredecoders_a3.add(gdstk.Label('pd[0][2]', (21.4,6), layer=34, texttype=10))
l2_sp6trowpredecoders_a3.add(gdstk.Label('pd[0][7]', (59.35,6), layer=34, texttype=10))
l2_sp6trowpredecoders_a3.add(gdstk.Label('pd[0][3]', (27.15,6), layer=34, texttype=10))
l2_sp6trowpredecoders_a3.add(gdstk.Label('pd[0][5]', (43.25,6), layer=34, texttype=10))
l2_sp6trowpredecoders_a3.add(gdstk.Label('pd[0][6]', (49,6), layer=34, texttype=10))
l2_sp6trowpredecoders_a3.add(gdstk.Label('pd[0][1]', (11.05,6), layer=34, texttype=10))
l2_sp6trowpredecoders_a3.add(gdstk.Label('page[0]', (15.68,6), layer=34, texttype=10))
l2_sp6trowpredecoders_a3.add(gdstk.Label('pd[0][4]', (37.5,6), layer=34, texttype=10))
l2_sp6trowpredecoders_a3.add(gdstk.Label('page[1]', (31.78,6), layer=34, texttype=10))
l2_sp6trowpredecoders_a3.add(gdstk.Label('a[4]', (14.91,28.735), layer=42, texttype=10))
l2_sp6trowpredecoders_a3.add(gdstk.Label('a[3]', (58.69,34.735), layer=42, texttype=10))
l2_sp6trowpredecoders_a3.add(gdstk.Label('a[2]', (40.29,34.735), layer=42, texttype=10))
l2_sp6trowpredecoders_a3.add(gdstk.Label('a[1]', (21.89,34.735), layer=42, texttype=10))
l2_sp6trowpredecoders_a3.add(gdstk.Label('a[0]', (3.49,34.735), layer=42, texttype=10))
l2_sp6trowpredecoders_a3.add(gdstk.Label('clk', (28.24,34.22), layer=36, texttype=10))

lib.write_gds('L2_SP6TRowPredecoders_A3B2B.gds')
